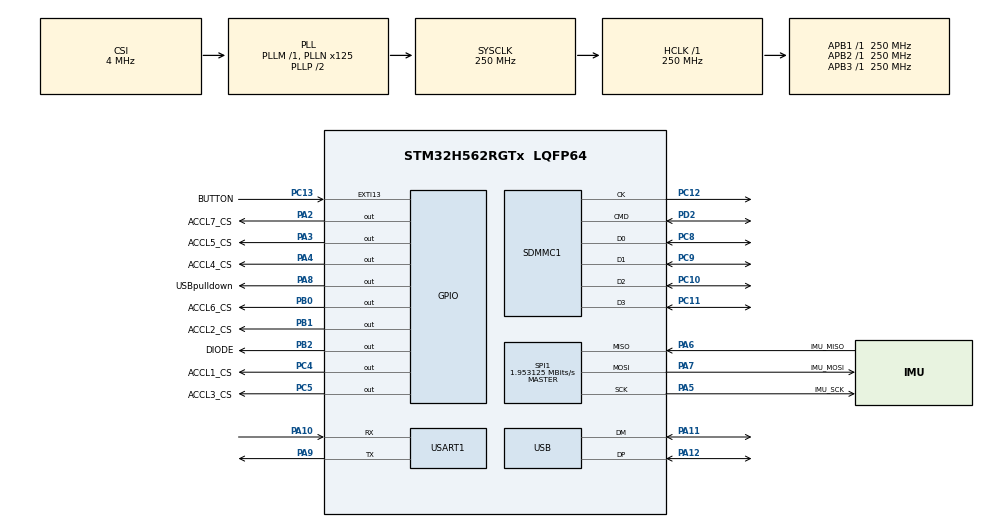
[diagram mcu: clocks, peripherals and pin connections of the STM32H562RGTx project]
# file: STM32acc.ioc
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BOOTPATH.BootPathName=LEGACY
BOOTPATH.UserSelectedBootPath=LEGACY
CORTEX_M33_NS.userName=CORTEX_M33
FILEX.FX_SD_INTERFACE=1
FILEX.useRTOS=1
Mcu.Family=STM32H5
Mcu.Name=STM32H562RGTx
Mcu.Package=LQFP64
NVIC.PriorityGroup=NVIC_PRIORITYGROUP_4
NVIC.SDMMC1_IRQn=true\:0\:0\:false\:false\:true\:true\:true\:true
NVIC.SPI1_IRQn=true\:0\:0\:false\:false\:true\:true\:true\:true
PA10.Mode=Asynchronous
PA10.Signal=USART1_RX
PA11.Mode=Device
PA11.Signal=USB_DM
PA12.Mode=Device
PA12.Signal=USB_DP
PA13(JTMS/SWDIO).Mode=Serial_Wire
PA13(JTMS/SWDIO).Signal=DEBUG_JTMS-SWDIO
PA14(JTCK/SWCLK).Mode=Serial_Wire
PA14(JTCK/SWCLK).Signal=DEBUG_JTCK-SWCLK
PA2.GPIO_Label=ACCL7_CS
PA2.GPIO_PuPd=GPIO_PULLUP
PA2.GPIO_Speed=GPIO_SPEED_FREQ_HIGH
PA2.PinAttribute=Free
PA2.PinState=GPIO_PIN_SET
PA2.Signal=GPIO_Output
PA3.GPIO_Label=ACCL5_CS
PA3.GPIO_PuPd=GPIO_PULLUP
PA3.GPIO_Speed=GPIO_SPEED_FREQ_HIGH
PA3.PinAttribute=Free
PA3.PinState=GPIO_PIN_SET
PA3.Signal=GPIO_Output
PA4.GPIO_Label=ACCL4_CS
PA4.GPIO_PuPd=GPIO_PULLUP
PA4.GPIO_Speed=GPIO_SPEED_FREQ_HIGH
PA4.PinState=GPIO_PIN_SET
PA4.Signal=GPIO_Output
PA5.GPIO_Label=IMU_SCK
PA5.GPIO_PuPd=GPIO_PULLDOWN
PA5.GPIO_Speed=GPIO_SPEED_FREQ_HIGH
PA5.Mode=Full_Duplex_Master
PA5.Signal=SPI1_SCK
PA6.GPIO_Label=IMU_MISO
PA6.GPIO_Speed=GPIO_SPEED_FREQ_HIGH
PA6.Mode=Full_Duplex_Master
PA6.Signal=SPI1_MISO
PA7.GPIO_Label=IMU_MOSI
PA7.GPIO_Speed=GPIO_SPEED_FREQ_HIGH
PA7.Mode=Full_Duplex_Master
PA7.Signal=SPI1_MOSI
PA8.GPIO_Label=USBpulldown
PA8.GPIO_PuPd=GPIO_PULLDOWN
PA8.Signal=GPIO_Output
PA9.Mode=Asynchronous
PA9.Signal=USART1_TX
PB0.GPIO_Label=ACCL6_CS
PB0.GPIO_PuPd=GPIO_PULLUP
PB0.GPIO_Speed=GPIO_SPEED_FREQ_HIGH
PB0.PinState=GPIO_PIN_SET
PB0.Signal=GPIO_Output
PB1.GPIO_Label=ACCL2_CS
PB1.GPIO_PuPd=GPIO_PULLUP
PB1.GPIO_Speed=GPIO_SPEED_FREQ_HIGH
PB1.PinState=GPIO_PIN_SET
PB1.Signal=GPIO_Output
PB2.GPIO_Label=DIODE
PB2.Signal=GPIO_Output
PC10.GPIO_PuPd=GPIO_PULLUP
PC10.Mode=SD_4_bits_Wide_bus
PC10.PinAttribute=Free
PC10.Signal=SDMMC1_D2
PC11.GPIO_PuPd=GPIO_PULLUP
PC11.Mode=SD_4_bits_Wide_bus
PC11.PinAttribute=Free
PC11.Signal=SDMMC1_D3
PC12.Mode=SD_4_bits_Wide_bus
PC12.Signal=SDMMC1_CK
PC13.GPIO_Label=BUTTON
PC13.Signal=GPXTI13
PC14-OSC32_IN(OSC32_IN).Mode=LSE-External-Oscillator
PC14-OSC32_IN(OSC32_IN).Signal=RCC_OSC32_IN
PC15-OSC32_OUT(OSC32_OUT).Mode=LSE-External-Oscillator
PC15-OSC32_OUT(OSC32_OUT).Signal=RCC_OSC32_OUT
PC4.GPIO_Label=ACCL1_CS
PC4.GPIO_PuPd=GPIO_PULLUP
PC4.GPIO_Speed=GPIO_SPEED_FREQ_HIGH
PC4.PinState=GPIO_PIN_SET
PC4.Signal=GPIO_Output
PC5.GPIO_Label=ACCL3_CS
PC5.GPIO_PuPd=GPIO_PULLUP
PC5.GPIO_Speed=GPIO_SPEED_FREQ_HIGH
PC5.PinState=GPIO_PIN_SET
PC5.Signal=GPIO_Output
PC8.GPIO_PuPd=GPIO_PULLUP
PC8.Mode=SD_4_bits_Wide_bus
PC8.Signal=SDMMC1_D0
PC9.GPIO_PuPd=GPIO_PULLUP
PC9.Mode=SD_4_bits_Wide_bus
PC9.Signal=SDMMC1_D1
PD2.GPIO_PuPd=GPIO_PULLUP
PD2.Mode=SD_4_bits_Wide_bus
PD2.Signal=SDMMC1_CMD
PH0-OSC_IN(PH0).Mode=HSE-External-Oscillator
PH0-OSC_IN(PH0).Signal=RCC_OSC_IN
PH1-OSC_OUT(PH1).Mode=HSE-External-Oscillator
PH1-OSC_OUT(PH1).Signal=RCC_OSC_OUT
ProjectManager.HeapSize=0x200
ProjectManager.StackSize=0x400
ProjectManager.TargetToolchain=Makefile
RCC.ADCFreq_Value=250000000
RCC.AHBFreq_Value=250000000
RCC.APB1Freq_Value=250000000
RCC.APB1TimFreq_Value=250000000
RCC.APB2Freq_Value=250000000
RCC.APB2TimFreq_Value=250000000
RCC.APB3Freq_Value=250000000
RCC.CSI_VALUE=4000000
RCC.CortexFreq_Value=250000000
RCC.EPOD_VALUE=4000000
RCC.HCLKFreq_Value=250000000
RCC.HSE_VALUE=25000000
RCC.HSI48_VALUE=48000000
RCC.HSI_VALUE=64000000
RCC.LSIRC_VALUE=32000
RCC.PLL2FRACN=0
RCC.PLL3FRACN=0
RCC.PLLFRACN=0
RCC.PLLN=125
RCC.SYSCLKFreq_VALUE=250000000
RCC.SYSCLKSource=RCC_SYSCLKSOURCE_PLLCLK
RCC.USBFreq_Value=48000000
RCC.VCOOutputFreq_Value=500000000
SDMMC1.ClockDiv=1
SDMMC1.ClockEdge=SDMMC_CLOCK_EDGE_FALLING
SPI1.BaudRatePrescaler=SPI_BAUDRATEPRESCALER_128
SPI1.CLKPhase=SPI_PHASE_2EDGE
SPI1.CLKPolarity=SPI_POLARITY_HIGH
SPI1.CalculateBaudRate=1.953125 MBits/s
SPI1.DataSize=SPI_DATASIZE_8BIT
SPI1.Direction=SPI_DIRECTION_2LINES
SPI1.Mode=SPI_MODE_MASTER
SPI1.ReadyPolarity=SPI_RDY_POLARITY_HIGH
SPI1.VirtualType=VM_MASTER
TIM5.AutoReloadPreload=TIM_AUTORELOAD_PRELOAD_ENABLE
TIM5.Prescaler=250-1
USART1.VirtualMode-Asynchronous=VM_ASYNC
USB.VirtualMode=Device_Only
VP_BOOTPATH_VS_BOOTPATH.Mode=BP_Activate
VP_CORTEX_M33_NS_VS_Hclk.Mode=Hclk_Mode
VP_FILEX_VS_FileOoSystemJjFileXJjCore.Mode=FileX_Core
VP_FILEX_VS_SDOointerface.Mode=SD_interface
VP_ICACHE_VS_ICACHE.Mode=DirectMappedCache
VP_MEMORYMAP_VS_MEMORYMAP.Mode=CurAppReg
VP_PWR_VS_DBSignals.Mode=DisableDeadBatterySignals
VP_PWR_VS_LPOM.Mode=PowerOptimisation
VP_PWR_VS_SECSignals.Mode=Security/Privilege
VP_TIM5_VS_ClockSourceINT.Mode=Internal
board=custom

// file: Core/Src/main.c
/* USER CODE BEGIN Header */
/**
  ******************************************************************************
  * @file           : main.c
  * @brief          : Main program body
  ******************************************************************************
  * @attention
  *
  * Copyright (c) 2024 STMicroelectronics.
  * All rights reserved.
  *
  * This software is licensed under terms that can be found in the LICENSE file
  * in the root directory of this software component.
  * If no LICENSE file comes with this software, it is provided AS-IS.
  *
  ******************************************************************************
  */
/* USER CODE END Header */
#include "main.h"
#include "icache.h"
#include "memorymap.h"
#include "sdmmc.h"
#include "spi.h"
#include "tim.h"
#include "usart.h"
#include "usb.h"
#include "gpio.h"

/* USER CODE BEGIN Includes */
#include "bmi160.h"
#include "Madgwick.h"
/* USER CODE END Includes */

/* USER CODE BEGIN PD */
#define NUMOFACCL 7
/* USER CODE END PD */

/* USER CODE BEGIN PM */
static uint16_t Buffercmp(uint8_t *pBuffer1, uint8_t *pBuffer2, uint16_t BufferLength);
/* USER CODE END PM */

/* USER CODE BEGIN PV */
extern SPI_HandleTypeDef hspi1;
extern SPI_HandleTypeDef hspi2;
/* Buffer used for transmission */

/* transfer state */
__IO uint32_t wTransferState = TRANSFER_WAIT;

/* USER CODE END PV */

void SystemClock_Config(void);

/* USER CODE BEGIN 0 */

calData calibration[NUMOFACCL];
/* USER CODE END 0 */

int main(void)
{

  /* MCU Configuration--------------------------------------------------------*/

  /* Reset of all peripherals, Initializes the Flash interface and the Systick. */
  HAL_Init();

  /* Configure the system clock */
  SystemClock_Config();

  /* Initialize all configured peripherals */
  MX_GPIO_Init();
  MX_SPI1_Init();
  MX_USART1_UART_Init();
  MX_TIM5_Init();
  MX_SDMMC1_SD_Init();
  MX_USB_PCD_Init();
  MX_ICACHE_Init();
  /* USER CODE BEGIN 2 */
  MX_FileX_Init();
  //   MX_FileX_Process();
  initDataFile();

  char acclDataOut[800];
  /* USER CODE END 2 */

  /* Infinite loop */
  /* USER CODE BEGIN WHILE */

  bmi160_context_t bmi160[NUMOFACCL];
  uint8_t test[NUMOFACCL]={0};
  bmi160[0].sensorPosition.geometryIndex = 0;  bmi160[1].sensorPosition.geometryIndex = 0;  bmi160[2].sensorPosition.geometryIndex = 0;
  bmi160[3].sensorPosition.geometryIndex = 0;  bmi160[4].sensorPosition.geometryIndex = 0;  bmi160[5].sensorPosition.geometryIndex = 0;
  bmi160[6].sensorPosition.geometryIndex = 0;

  test[0] = bmi160_init(&bmi160[0], ACCL1_CS_GPIO_Port, ACCL1_CS_Pin, true);
  test[1] = bmi160_init(&bmi160[1], ACCL2_CS_GPIO_Port, ACCL2_CS_Pin, true);
  test[2] = bmi160_init(&bmi160[2], ACCL3_CS_GPIO_Port, ACCL3_CS_Pin, true);
  test[3] = bmi160_init(&bmi160[3], ACCL4_CS_GPIO_Port, ACCL4_CS_Pin, true);
  test[4] = bmi160_init(&bmi160[4], ACCL5_CS_GPIO_Port, ACCL5_CS_Pin, true);
  test[5] = bmi160_init(&bmi160[5], ACCL6_CS_GPIO_Port, ACCL6_CS_Pin, true);
  test[6] = bmi160_init(&bmi160[6], ACCL7_CS_GPIO_Port, ACCL7_CS_Pin, true);

  float ax[NUMOFACCL], ay[NUMOFACCL], az[NUMOFACCL], temperature[NUMOFACCL];
  float gx[NUMOFACCL], gy[NUMOFACCL], gz[NUMOFACCL];
  float mx[NUMOFACCL], my[NUMOFACCL], mz[NUMOFACCL];
  uint16_t bytesWritten = 0;
  uint32_t counter = 0;
  while (1)
  {
    bytesWritten = 0;
    uint32_t timems = HAL_GetTick();
    bytesWritten += sprintf(&acclDataOut[bytesWritten], "% 8d% 8d",counter++, timems);
    for(int i = 0; i < NUMOFACCL; i++)
    {
      bmi160_update(&bmi160[i]);
      gx[i] = bmi160[i].gyroX;    gy[i] = bmi160[i].gyroY;    gz[i] = bmi160[i].gyroZ;
      ax[i] = bmi160[i].accelX;   ay[i] = bmi160[i].accelY;   az[i] = bmi160[i].accelZ;
      mx[i] = bmi160[i].magX;     my[i] = bmi160[i].magY;     mz[i] = bmi160[i].magZ;

      bytesWritten += sprintf(&acclDataOut[bytesWritten], "% 8.5f% 8.5f% 8.5f|", ax[i], ay[i], az[i]);
    //   bytesWritten += sprintf(&acclDataOut[bytesWritten], "% 8.1f% 8.1f% 8.1f|", gx[i], gy[i], gz[i]);
    //   bytesWritten += sprintf(&acclDataOut[bytesWritten], "% 8.1f% 8.1f% 8.1f|", mx[i], my[i], mz[i]);
    }
    bytesWritten += sprintf(&acclDataOut[bytesWritten], "\n");
    writeDataToFile(acclDataOut, bytesWritten);
    //Madgwick_updateIMU(gx, gy, gz, ax, ay, az);
    HAL_Delay(40);
    /* USER CODE END WHILE */

  }
}

void SystemClock_Config(void)
{
  RCC_OscInitTypeDef RCC_OscInitStruct = {0};
  RCC_ClkInitTypeDef RCC_ClkInitStruct = {0};

  /** Configure the main internal regulator output voltage
  */
  __HAL_PWR_VOLTAGESCALING_CONFIG(PWR_REGULATOR_VOLTAGE_SCALE0);

  while(!__HAL_PWR_GET_FLAG(PWR_FLAG_VOSRDY)) {}

  /** Initializes the RCC Oscillators according to the specified parameters
  * in the RCC_OscInitTypeDef structure.
  */
  RCC_OscInitStruct.OscillatorType = RCC_OSCILLATORTYPE_HSI48|RCC_OSCILLATORTYPE_CSI;
  RCC_OscInitStruct.HSI48State = RCC_HSI48_ON;
  RCC_OscInitStruct.CSIState = RCC_CSI_ON;
  RCC_OscInitStruct.CSICalibrationValue = RCC_CSICALIBRATION_DEFAULT;
  RCC_OscInitStruct.PLL.PLLState = RCC_PLL_ON;
  RCC_OscInitStruct.PLL.PLLSource = RCC_PLL1_SOURCE_CSI;
  RCC_OscInitStruct.PLL.PLLM = 1;
  RCC_OscInitStruct.PLL.PLLN = 125;
  RCC_OscInitStruct.PLL.PLLP = 2;
  RCC_OscInitStruct.PLL.PLLQ = 2;
  RCC_OscInitStruct.PLL.PLLR = 2;
  RCC_OscInitStruct.PLL.PLLRGE = RCC_PLL1_VCIRANGE_2;
  RCC_OscInitStruct.PLL.PLLVCOSEL = RCC_PLL1_VCORANGE_WIDE;
  RCC_OscInitStruct.PLL.PLLFRACN = 0;
  if (HAL_RCC_OscConfig(&RCC_OscInitStruct) != HAL_OK)
  {
    Error_Handler();
  }

  /** Initializes the CPU, AHB and APB buses clocks
  */
  RCC_ClkInitStruct.ClockType = RCC_CLOCKTYPE_HCLK|RCC_CLOCKTYPE_SYSCLK
                              |RCC_CLOCKTYPE_PCLK1|RCC_CLOCKTYPE_PCLK2
                              |RCC_CLOCKTYPE_PCLK3;
  RCC_ClkInitStruct.SYSCLKSource = RCC_SYSCLKSOURCE_PLLCLK;
  RCC_ClkInitStruct.AHBCLKDivider = RCC_SYSCLK_DIV1;
  RCC_ClkInitStruct.APB1CLKDivider = RCC_HCLK_DIV1;
  RCC_ClkInitStruct.APB2CLKDivider = RCC_HCLK_DIV1;
  RCC_ClkInitStruct.APB3CLKDivider = RCC_HCLK_DIV1;

  if (HAL_RCC_ClockConfig(&RCC_ClkInitStruct, FLASH_LATENCY_5) != HAL_OK)
  {
    Error_Handler();
  }

  /** Configure the programming delay
  */
  __HAL_FLASH_SET_PROGRAM_DELAY(FLASH_PROGRAMMING_DELAY_2);
}

void Error_Handler(void)
{
  __disable_irq();
  while (1)
  {
  }
}
